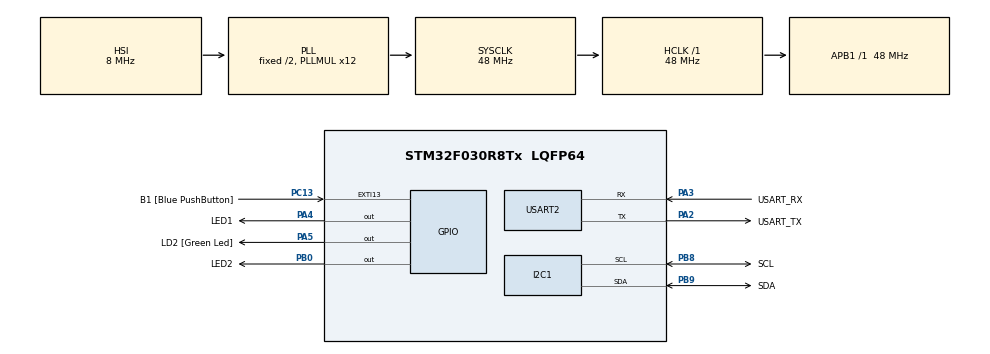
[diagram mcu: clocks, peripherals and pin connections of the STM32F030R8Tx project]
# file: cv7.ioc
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FREERTOS.Queues01=xVisualQueue,16,uint16_t,0,Dynamic,NULL,NULL
FREERTOS.Tasks01=defaultTask,0,128,StartDefaultTask,Default,NULL,Dynamic,NULL,NULL;VisualTask,0,128,StartVisualTask,Default,NULL,Dynamic,NULL,NULL;AcceleroTask,0,128,StartAcceleroTask,Default,NULL,Dynamic,NULL,NULL
FREERTOS.configUSE_NEWLIB_REENTRANT=1
Mcu.Family=STM32F0
Mcu.Name=STM32F030R8Tx
Mcu.Package=LQFP64
NVIC.TIM14_IRQn=true\:3\:0\:false\:false\:true\:false\:false\:true
NVIC.TimeBase=TIM14_IRQn
NVIC.TimeBaseIP=TIM14
PA13.GPIO_Label=TMS
PA13.Mode=Serial_Wire
PA13.Signal=SYS_SWDIO
PA14.GPIO_Label=TCK
PA14.Mode=Serial_Wire
PA14.Signal=SYS_SWCLK
PA2.GPIO_Label=USART_TX
PA2.GPIO_Mode=GPIO_MODE_AF_PP
PA2.GPIO_PuPd=GPIO_NOPULL
PA2.GPIO_Speed=GPIO_SPEED_FREQ_LOW
PA2.Mode=Asynchronous
PA2.Signal=USART2_TX
PA3.GPIO_Label=USART_RX
PA3.GPIO_Mode=GPIO_MODE_AF_PP
PA3.GPIO_PuPd=GPIO_NOPULL
PA3.GPIO_Speed=GPIO_SPEED_FREQ_LOW
PA3.Mode=Asynchronous
PA3.Signal=USART2_RX
PA4.GPIO_Label=LED1
PA4.Signal=GPIO_Output
PA5.GPIO_Label=LD2 [Green Led]
PA5.GPIO_Mode=GPIO_MODE_OUTPUT_PP
PA5.GPIO_PuPd=GPIO_NOPULL
PA5.GPIO_Speed=GPIO_SPEED_FREQ_LOW
PA5.Signal=GPIO_Output
PB0.GPIO_Label=LED2
PB0.Signal=GPIO_Output
PB8.GPIO_Label=SCL
PB8.Mode=I2C
PB8.Signal=I2C1_SCL
PB9.GPIO_Label=SDA
PB9.Mode=I2C
PB9.Signal=I2C1_SDA
PC13.GPIO_Label=B1 [Blue PushButton]
PC13.GPIO_ModeDefaultEXTI=GPIO_MODE_IT_FALLING
PC13.Signal=GPXTI13
PC14-OSC32_IN.Mode=LSE-External-Oscillator
PC14-OSC32_IN.Signal=RCC_OSC32_IN
PC15-OSC32_OUT.Mode=LSE-External-Oscillator
PC15-OSC32_OUT.Signal=RCC_OSC32_OUT
PF0-OSC_IN.Mode=HSE-External-Clock-Source
PF0-OSC_IN.Signal=RCC_OSC_IN
PF1-OSC_OUT.Signal=RCC_OSC_OUT
ProjectManager.HeapSize=0x200
ProjectManager.StackSize=0x400
ProjectManager.TargetToolchain=STM32CubeIDE
RCC.AHBFreq_Value=48000000
RCC.APB1Freq_Value=48000000
RCC.APB1TimFreq_Value=48000000
RCC.HCLKFreq_Value=48000000
RCC.PLLMUL=RCC_PLL_MUL12
RCC.SYSCLKFreq_VALUE=48000000
RCC.SYSCLKSource=RCC_SYSCLKSOURCE_PLLCLK
USART2.VirtualMode-Asynchronous=VM_ASYNC
VP_FREERTOS_VS_CMSIS_V1.Mode=CMSIS_V1
VP_SYS_VS_tim14.Mode=TIM14
board=NUCLEO-F030R8

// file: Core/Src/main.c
/* USER CODE BEGIN Header */
/**
 ******************************************************************************
 * @file           : main.c
 * @brief          : Main program body
 ******************************************************************************
 * @attention
 *
 * <h2><center>&copy; Copyright (c) 2021 STMicroelectronics.
 * All rights reserved.</center></h2>
 *
 * This software component is licensed by ST under BSD 3-Clause license,
 * the "License"; You may not use this file except in compliance with the
 * License. You may obtain a copy of the License at:
 *                        opensource.org/licenses/BSD-3-Clause
 *
 ******************************************************************************
 */
/* USER CODE END Header */
#include "main.h"
#include "cmsis_os.h"

/* USER CODE BEGIN Includes */
#include "lis2dw12_reg.h"
#include <stdio.h>

/* USER CODE END Includes */

I2C_HandleTypeDef hi2c1;

UART_HandleTypeDef huart2;

osThreadId defaultTaskHandle;
osThreadId VisualTaskHandle;
osThreadId AcceleroTaskHandle;
osMessageQId xVisualQueueHandle;

void SystemClock_Config(void);
static void MX_GPIO_Init(void);
static void MX_USART2_UART_Init(void);
static void MX_I2C1_Init(void);
void StartDefaultTask(void const * argument);
void StartVisualTask(void const * argument);
void StartAcceleroTask(void const * argument);

/* USER CODE BEGIN PFP */
static int32_t platform_write(void *handle, uint8_t reg, uint8_t *bufp, uint16_t len);
static int32_t platform_read(void *handle, uint8_t reg, uint8_t *bufp, uint16_t len);
static stmdev_ctx_t lis2dw12 = {
		.write_reg = platform_write,
		.read_reg = platform_read,
		.handle = &hi2c1,
};

/*
 * Replace the functions "platform_write" and "platform_read" with your
 * platform specific read and write function.
 */
static int32_t platform_write(void *handle, uint8_t reg, uint8_t *bufp, uint16_t len)
{
	HAL_I2C_Mem_Write(handle, LIS2DW12_I2C_ADD_H, reg, I2C_MEMADD_SIZE_8BIT, bufp, len, 1000);
	return 0;
}
static int32_t platform_read(void *handle, uint8_t reg, uint8_t *bufp, uint16_t len)
{
	HAL_I2C_Mem_Read(handle, LIS2DW12_I2C_ADD_H, reg, I2C_MEMADD_SIZE_8BIT, bufp, len, 1000);
	return 0;
}

int _write(int file, char const *buf, int n) // definice funkce write
{
	/* stdout redirection to UART2 */
	HAL_UART_Transmit(&huart2, (uint8_t*)(buf), n, HAL_MAX_DELAY);
	return n;
}
/* USER CODE END PFP */

int main(void)
{

	/* MCU Configuration--------------------------------------------------------*/

	/* Reset of all peripherals, Initializes the Flash interface and the Systick. */
	HAL_Init();

	/* Configure the system clock */
	SystemClock_Config();

	/* Initialize all configured peripherals */
	MX_GPIO_Init();
	MX_USART2_UART_Init();
	MX_I2C1_Init();

	/* Create the queue(s) */
	/* definition and creation of xVisualQueue */
	osMessageQDef(xVisualQueue, 16, uint16_t);
	xVisualQueueHandle = osMessageCreate(osMessageQ(xVisualQueue), NULL);

	/* Create the thread(s) */
	/* definition and creation of defaultTask */
	osThreadDef(defaultTask, StartDefaultTask, osPriorityNormal, 0, 128);
	defaultTaskHandle = osThreadCreate(osThread(defaultTask), NULL);

	/* definition and creation of VisualTask */
	osThreadDef(VisualTask, StartVisualTask, osPriorityNormal, 0, 128);
	VisualTaskHandle = osThreadCreate(osThread(VisualTask), NULL);

	/* definition and creation of AcceleroTask */
	osThreadDef(AcceleroTask, StartAcceleroTask, osPriorityNormal, 0, 128);
	AcceleroTaskHandle = osThreadCreate(osThread(AcceleroTask), NULL);

	/* Start scheduler */
	osKernelStart();

	/* We should never get here as control is now taken by the scheduler */
	/* Infinite loop */
	while (1)
	{

	}
}

void SystemClock_Config(void)
{
	RCC_OscInitTypeDef RCC_OscInitStruct = {0};
	RCC_ClkInitTypeDef RCC_ClkInitStruct = {0};
	RCC_PeriphCLKInitTypeDef PeriphClkInit = {0};

	/** Initializes the RCC Oscillators according to the specified parameters
	 * in the RCC_OscInitTypeDef structure.
	 */
	RCC_OscInitStruct.OscillatorType = RCC_OSCILLATORTYPE_HSI;
	RCC_OscInitStruct.HSIState = RCC_HSI_ON;
	RCC_OscInitStruct.HSICalibrationValue = RCC_HSICALIBRATION_DEFAULT;
	RCC_OscInitStruct.PLL.PLLState = RCC_PLL_ON;
	RCC_OscInitStruct.PLL.PLLSource = RCC_PLLSOURCE_HSI;
	RCC_OscInitStruct.PLL.PLLMUL = RCC_PLL_MUL12;
	RCC_OscInitStruct.PLL.PREDIV = RCC_PREDIV_DIV1;
	if (HAL_RCC_OscConfig(&RCC_OscInitStruct) != HAL_OK)
	{
		Error_Handler();
	}
	/** Initializes the CPU, AHB and APB buses clocks
	 */
	RCC_ClkInitStruct.ClockType = RCC_CLOCKTYPE_HCLK|RCC_CLOCKTYPE_SYSCLK
			|RCC_CLOCKTYPE_PCLK1;
	RCC_ClkInitStruct.SYSCLKSource = RCC_SYSCLKSOURCE_PLLCLK;
	RCC_ClkInitStruct.AHBCLKDivider = RCC_SYSCLK_DIV1;
	RCC_ClkInitStruct.APB1CLKDivider = RCC_HCLK_DIV1;

	if (HAL_RCC_ClockConfig(&RCC_ClkInitStruct, FLASH_LATENCY_1) != HAL_OK)
	{
		Error_Handler();
	}
	PeriphClkInit.PeriphClockSelection = RCC_PERIPHCLK_I2C1;
	PeriphClkInit.I2c1ClockSelection = RCC_I2C1CLKSOURCE_HSI;
	if (HAL_RCCEx_PeriphCLKConfig(&PeriphClkInit) != HAL_OK)
	{
		Error_Handler();
	}
}

static void MX_I2C1_Init(void)
{

	hi2c1.Instance = I2C1;
	hi2c1.Init.Timing = 0x2000090E;
	hi2c1.Init.OwnAddress1 = 0;
	hi2c1.Init.AddressingMode = I2C_ADDRESSINGMODE_7BIT;
	hi2c1.Init.DualAddressMode = I2C_DUALADDRESS_DISABLE;
	hi2c1.Init.OwnAddress2 = 0;
	hi2c1.Init.OwnAddress2Masks = I2C_OA2_NOMASK;
	hi2c1.Init.GeneralCallMode = I2C_GENERALCALL_DISABLE;
	hi2c1.Init.NoStretchMode = I2C_NOSTRETCH_DISABLE;
	if (HAL_I2C_Init(&hi2c1) != HAL_OK)
	{
		Error_Handler();
	}
	/** Configure Analogue filter
	 */
	if (HAL_I2CEx_ConfigAnalogFilter(&hi2c1, I2C_ANALOGFILTER_ENABLE) != HAL_OK)
	{
		Error_Handler();
	}
	/** Configure Digital filter
	 */
	if (HAL_I2CEx_ConfigDigitalFilter(&hi2c1, 0) != HAL_OK)
	{
		Error_Handler();
	}

}

static void MX_USART2_UART_Init(void)
{

	huart2.Instance = USART2;
	huart2.Init.BaudRate = 38400;
	huart2.Init.WordLength = UART_WORDLENGTH_8B;
	huart2.Init.StopBits = UART_STOPBITS_1;
	huart2.Init.Parity = UART_PARITY_NONE;
	huart2.Init.Mode = UART_MODE_TX_RX;
	huart2.Init.HwFlowCtl = UART_HWCONTROL_NONE;
	huart2.Init.OverSampling = UART_OVERSAMPLING_16;
	huart2.Init.OneBitSampling = UART_ONE_BIT_SAMPLE_DISABLE;
	huart2.AdvancedInit.AdvFeatureInit = UART_ADVFEATURE_NO_INIT;
	if (HAL_UART_Init(&huart2) != HAL_OK)
	{
		Error_Handler();
	}

}

static void MX_GPIO_Init(void)
{
	GPIO_InitTypeDef GPIO_InitStruct = {0};

	/* GPIO Ports Clock Enable */
	__HAL_RCC_GPIOC_CLK_ENABLE();
	__HAL_RCC_GPIOF_CLK_ENABLE();
	__HAL_RCC_GPIOA_CLK_ENABLE();
	__HAL_RCC_GPIOB_CLK_ENABLE();

	/*Configure GPIO pin Output Level */
	HAL_GPIO_WritePin(GPIOA, LED1_Pin|LD2_Pin, GPIO_PIN_RESET);

	/*Configure GPIO pin Output Level */
	HAL_GPIO_WritePin(LED2_GPIO_Port, LED2_Pin, GPIO_PIN_RESET);

	/*Configure GPIO pin : B1_Pin */
	GPIO_InitStruct.Pin = B1_Pin;
	GPIO_InitStruct.Mode = GPIO_MODE_IT_FALLING;
	GPIO_InitStruct.Pull = GPIO_NOPULL;
	HAL_GPIO_Init(B1_GPIO_Port, &GPIO_InitStruct);

	/*Configure GPIO pins : LED1_Pin LD2_Pin */
	GPIO_InitStruct.Pin = LED1_Pin|LD2_Pin;
	GPIO_InitStruct.Mode = GPIO_MODE_OUTPUT_PP;
	GPIO_InitStruct.Pull = GPIO_NOPULL;
	GPIO_InitStruct.Speed = GPIO_SPEED_FREQ_LOW;
	HAL_GPIO_Init(GPIOA, &GPIO_InitStruct);

	/*Configure GPIO pin : LED2_Pin */
	GPIO_InitStruct.Pin = LED2_Pin;
	GPIO_InitStruct.Mode = GPIO_MODE_OUTPUT_PP;
	GPIO_InitStruct.Pull = GPIO_NOPULL;
	GPIO_InitStruct.Speed = GPIO_SPEED_FREQ_LOW;
	HAL_GPIO_Init(LED2_GPIO_Port, &GPIO_InitStruct);

}

void StartDefaultTask(void const * argument)
{
	for(;;)
	{
		osDelay(1);
	}
}

void StartVisualTask(void const * argument)
{
	/* USER CODE BEGIN StartVisualTask */
	/* Infinite loop */
	for(;;)
	{
		int16_t msg;
		if (xQueueReceive(xVisualQueueHandle, &msg, portMAX_DELAY))
		{
			if(msg>1000)
			{
				HAL_GPIO_WritePin(LED2_GPIO_Port, LED2_Pin, 1);
				HAL_GPIO_WritePin(LED1_GPIO_Port, LED1_Pin, 0);
			}

			if(msg<-1000)
			{
				HAL_GPIO_WritePin(LED1_GPIO_Port, LED1_Pin, 1);
				HAL_GPIO_WritePin(LED2_GPIO_Port, LED2_Pin, 0);
			}
			else if( msg<1000 && msg> -1000)
			{
				HAL_GPIO_WritePin(LED2_GPIO_Port, LED2_Pin, 0);
				HAL_GPIO_WritePin(LED1_GPIO_Port, LED1_Pin, 0);
			}
		}
		osDelay(1);
	}
	/* USER CODE END StartVisualTask */
}

void StartAcceleroTask(void const * argument)
{

	lis2dw12_full_scale_set(&lis2dw12, LIS2DW12_2g);
	lis2dw12_power_mode_set(&lis2dw12, LIS2DW12_CONT_LOW_PWR_LOW_NOISE_2);
	lis2dw12_block_data_update_set(&lis2dw12, PROPERTY_ENABLE);
	lis2dw12_fifo_mode_set(&lis2dw12, LIS2DW12_STREAM_MODE); // enable continuous FIFO
	lis2dw12_data_rate_set(&lis2dw12, LIS2DW12_XL_ODR_25Hz); // enable part from power-down

	uint8_t samples;
	int16_t raw_acceleration[3];

	uint8_t whoamI = 0;
	lis2dw12_device_id_get(&lis2dw12, &whoamI);
	printf("LIS2DW12_ID %s\n", (whoamI == LIS2DW12_ID) ? "OK" : "FAIL");

	/* USER CODE BEGIN StartAcceleroTask */
	/* Infinite loop */
	for(;;)
	{

		/*

		int16_t msg;
		msg=-5000;
		xQueueSend(xVisualQueueHandle, &msg, 0);
		osDelay(1000);

		msg=0;
		xQueueSend(xVisualQueueHandle, &msg, 0);
		osDelay(1000);

		msg=5000;
		xQueueSend(xVisualQueueHandle, &msg, 0);
		osDelay(1000);

		msg=0;
		xQueueSend(xVisualQueueHandle, &msg, 0);
		osDelay(1000);
		 */

		int16_t msg;
		static int32_t time = 0;

		lis2dw12_fifo_data_level_get(&lis2dw12, &samples);
		for (uint8_t i = 0; i < samples; i++) {
			// Read acceleration data
			lis2dw12_acceleration_raw_get(&lis2dw12, raw_acceleration);
			if (HAL_GetTick() > time + 1000)
			{
				printf("X=%d Y=%d Z=%d\n", raw_acceleration[0], raw_acceleration[1], raw_acceleration[2]);
				time = HAL_GetTick();
			}
		}

		msg=raw_acceleration[0];
		xQueueSend(xVisualQueueHandle, &msg, 0);
		osDelay(50);
	}
	/* USER CODE END StartAcceleroTask */
}

void HAL_TIM_PeriodElapsedCallback(TIM_HandleTypeDef *htim)
{
	if (htim->Instance == TIM14) {
		HAL_IncTick();
	}
}

void Error_Handler(void)
{
	__disable_irq();
	while (1)
	{
	}
}

/************************ (C) COPYRIGHT STMicroelectronics *****END OF FILE****/
